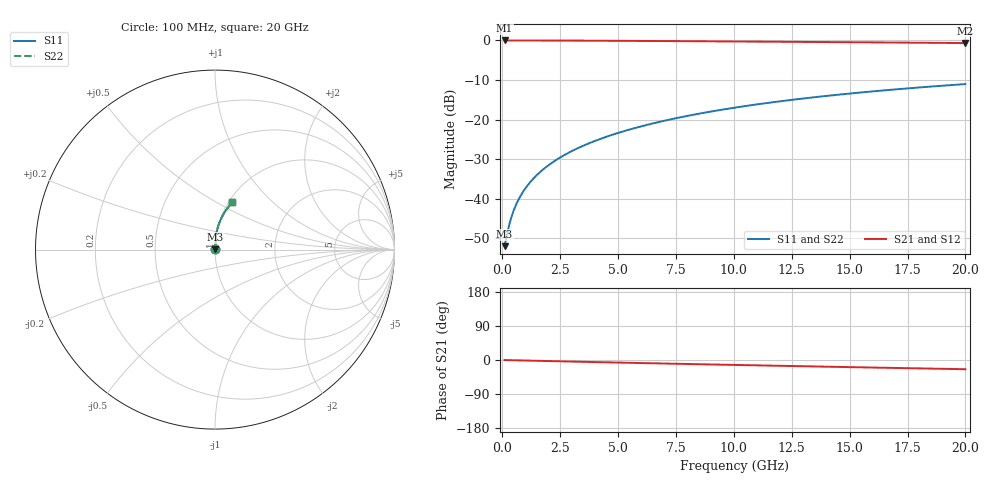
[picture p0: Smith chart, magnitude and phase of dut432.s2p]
! Touchstone file exported from HFSS 2024.1.0
!  File:  C:/UserFiles/LocalFiles/RDL_TSV_Batchsim/temp_RDL_bottom_432_1779684242.aedt
!  Generated:  12:46:52 PM May 25, 2026
!  Design:  RDL_bottom
!  Project:  temp_RDL_bottom_432_1779684242
!  Setup:  Setup1
!  Solution:  Sweep
! Variables:
!  dtsv = 10.80580581um
!  hbump = 3um
!  htsv = 56.24um
!  ldown = 288.21um
!  lrdl = 100um
!  p = 40
!  p1 = 53.84um
!  rhole = 1um
!  t = 450um
!  tdown = 2.81um
!  trdl = 3.915915916um
!  wdown = 19.76um
!  wrdl = 20um
# GHz S MA R 50.000000
! Terminal data exported
! Port[1] = RDL1_T1
! Port[2] = RDL1_T2
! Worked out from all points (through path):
!   200 points, 100 MHz to 20 GHz, reference 50 ohm
!   highest |S21| = -0.02 dB at 100 MHz (marker M1); lowest = -0.7 dB at 20 GHz (marker M2)
!   group delay of S21, straight-line fit = 3.35 ps
!   lowest |S11| = -52.0 dB at 100 MHz (marker M3), VSWR 1.01, Z = 50.2 + j0.141 ohm
!   |S11| at or under -10 dB: start of sweep to end of sweep
!   |S22| runs from -52.0 to -11.0 dB; largest |S21 - S12| = 3.9e-15
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0.1  0.002516 33.9  0.9979 -0.1  0.9979 -0.1  0.002516 33.9
! Gamma 0 0 0 0
! Port Impedance 50 0 50 0
0.2  0.003516 52.6  0.9978 -0.3  0.9978 -0.3  0.003516 52.6
0.3  0.004704 62.1  0.9978 -0.4  0.9978 -0.4  0.004704 62.1
0.4  0.005949 67.6  0.9977 -0.6  0.9977 -0.6  0.005948 67.6
0.5  0.007209 71.1  0.9976 -0.7  0.9976 -0.7  0.007209 71.1
0.6  0.008474 73.6  0.9975 -0.9  0.9975 -0.9  0.008474 73.6
0.8  0.01101 76.9  0.9973 -1.1  0.9973 -1.1  0.01101 76.9
1.1  0.01484 80.0  0.9969 -1.5  0.9969 -1.5  0.01484 80.0
1.5  0.02001 82.3  0.9965 -2.1  0.9965 -2.1  0.02001 82.3
1.8  0.02393 83.4  0.996 -2.5  0.996 -2.5  0.02393 83.4
2.1  0.02788 84.2  0.9955 -2.9  0.9955 -2.9  0.02788 84.2
2.7  0.03588 85.2  0.9944 -3.7  0.9944 -3.7  0.03588 85.2
3.5  0.04676 85.8  0.9925 -4.8  0.9925 -4.8  0.04676 85.8
4.2  0.05646 85.9  0.9906 -5.8  0.9906 -5.8  0.05646 85.9
5  0.06774 85.8  0.9881 -6.8  0.9881 -6.8  0.06774 85.8
5.9  0.08065 85.4  0.9851 -8.0  0.9851 -8.0  0.08065 85.4
6.8  0.09373 84.8  0.9818 -9.1  0.9818 -9.1  0.09373 84.8
8.4  0.1172 83.3  0.9758 -11.1  0.9758 -11.1  0.1172 83.3
10.1  0.1423 81.5  0.969 -13.1  0.969 -13.1  0.1423 81.5
13.4  0.1904 77.6  0.9552 -17.0  0.9552 -17.0  0.1904 77.6
16.7  0.2366 73.6  0.9407 -20.7  0.9407 -20.7  0.2366 73.6
20  0.2806 69.7  0.9253 -24.3  0.9253 -24.3  0.2806 69.7
